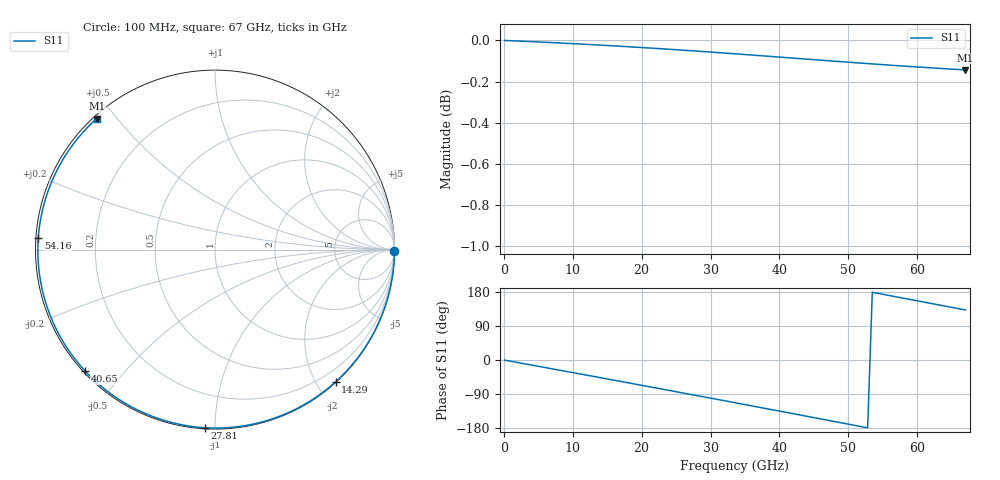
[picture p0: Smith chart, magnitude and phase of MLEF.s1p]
! Created with skrf (http://scikit-rf.org).
# Hz S RI R 50.0
!freq ReS11 ImS11
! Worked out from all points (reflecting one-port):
!   100 points, 100 MHz to 67 GHz, reference 50 ohm
!   lowest |S11| = -0.1 dB at 67 GHz (marker M1), VSWR 121.23, Z = 0.494 + j22.2 ohm
!   phase of S11 starts at -0 deg and turns -228 deg over the sweep
!   S11 on the Smith chart (normalised r, x): 100 MHz: open; 14.29 GHz: 0.01, -2.27; 27.81 GHz: 0.01, -0.95; 40.65 GHz: 0.01, -0.39; 54.16 GHz: 0.01, +0.03; 67 GHz: 0.01, +0.44
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1e8  1 -0.00581
2.127273e9  0.992 -0.1232
4.154545e9  0.9704 -0.2387
6.181818e9  0.9352 -0.351
8.884848e9  0.8683 -0.4929
1.158788e10  0.7798 -0.6226
1.429091e10  0.672 -0.7369
1.699394e10  0.5473 -0.8331
1.969697e10  0.4087 -0.9084
2.172424e10  0.2976 -0.9501
2.375152e10  0.1822 -0.9783
2.577879e10  0.0641 -0.9925
2.780606e10  -0.0551 -0.9926
3.050909e10  -0.2127 -0.9703
3.388788e10  -0.4019 -0.9074
3.726667e10  -0.5751 -0.8077
4.064545e10  -0.725 -0.675
4.199697e10  -0.777 -0.6137
4.47e10  -0.8654 -0.4796
4.672727e10  -0.9168 -0.3705
4.875455e10  -0.9545 -0.256
5.078182e10  -0.978 -0.1377
5.416061e10  -0.9848 0.063
5.618788e10  -0.9692 0.1824
5.889091e10  -0.9262 0.3369
6.091818e10  -0.8778 0.4469
6.294545e10  -0.8165 0.5501
6.7e10  -0.6593 0.7299
